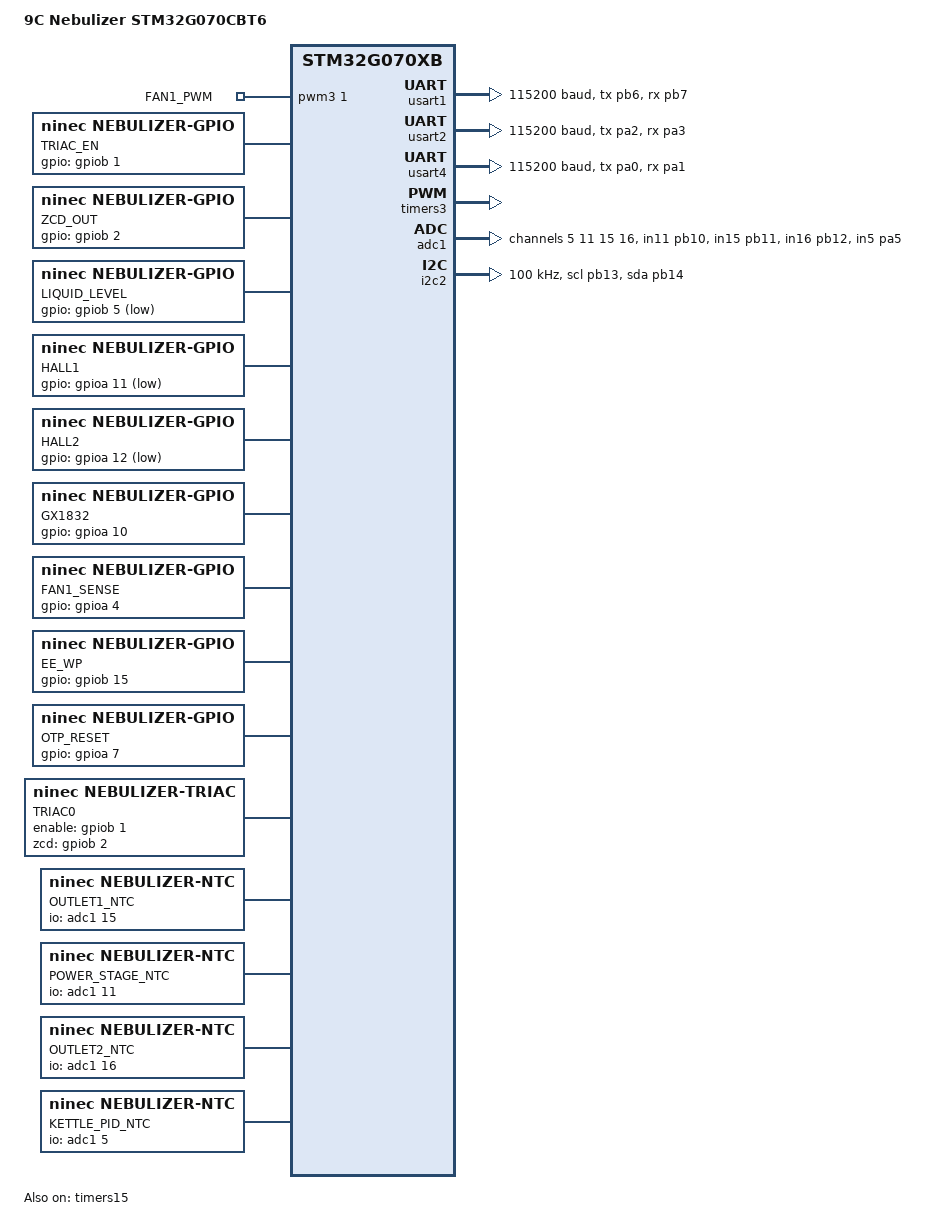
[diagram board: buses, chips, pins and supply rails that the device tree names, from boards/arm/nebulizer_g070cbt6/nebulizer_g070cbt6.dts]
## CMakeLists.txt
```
cmake_minimum_required(VERSION 3.22)
project(Nebulizer LANGUAGES C ASM)
option(NEBULIZER_BOOT_LAYOUT "Build protected-layout Boot + single App artifacts" OFF)
set(CMAKE_C_STANDARD 11)
set(CMAKE_C_STANDARD_REQUIRED ON)
set(CMAKE_EXPORT_COMPILE_COMMANDS ON)

if(NOT CMAKE_C_COMPILER MATCHES "arm-none-eabi")
  message(FATAL_ERROR "Use cmake --preset debug or release (STM32 Arm GCC toolchain)")
endif()
set(FREERTOS ${CMAKE_CURRENT_SOURCE_DIR}/third_party/FreeRTOS)
set(HAL ${CMAKE_CURRENT_SOURCE_DIR}/third_party/STM32G0_HAL)
set(DEVICE ${CMAKE_CURRENT_SOURCE_DIR}/third_party/STM32G0)
if(NOT EXISTS "${FREERTOS}/tasks.c")
  message(FATAL_ERROR "Missing dependencies: run python tools/vendor_dependencies.py")
endif()
add_library(mcu_options INTERFACE)
target_compile_options(mcu_options INTERFACE -mcpu=cortex-m0plus -mthumb -mfloat-abi=soft
  -ffunction-sections -fdata-sections -fno-common
  $<$<CONFIG:Debug>:-Og> $<$<CONFIG:Debug>:-g3>
  $<$<CONFIG:Release>:-Os> $<$<CONFIG:Release>:-g3>)
target_compile_definitions(mcu_options INTERFACE STM32G070xx USE_HAL_DRIVER)
target_include_directories(mcu_options INTERFACE ${CMAKE_CURRENT_SOURCE_DIR}/include)
target_include_directories(mcu_options SYSTEM INTERFACE
  ${FREERTOS}/include ${FREERTOS}/portable/GCC/ARM_CM0
  ${HAL}/Inc ${DEVICE}/Include
  ${CMAKE_CURRENT_SOURCE_DIR}/third_party/CMSIS/CMSIS/Core/Include)
add_library(freertos STATIC ${FREERTOS}/tasks.c ${FREERTOS}/queue.c ${FREERTOS}/list.c
  ${FREERTOS}/portable/GCC/ARM_CM0/port.c
  ${FREERTOS}/portable/GCC/ARM_CM0/portasm.c)
target_link_libraries(freertos PUBLIC mcu_options)
target_compile_definitions(freertos PRIVATE SysTick_Handler=xPortSysTickHandler)
set(HAL_MODULES hal hal_cortex hal_rcc hal_rcc_ex hal_pwr hal_pwr_ex hal_flash
  hal_flash_ex hal_gpio hal_dma hal_dma_ex hal_adc hal_adc_ex hal_i2c hal_i2c_ex
  hal_tim hal_tim_ex hal_uart hal_uart_ex)
foreach(module IN LISTS HAL_MODULES)
  list(APPEND HAL_SOURCES ${HAL}/Src/stm32g0xx_${module}.c)
endforeach()
add_library(stm32_hal STATIC ${HAL_SOURCES} ${DEVICE}/Source/Templates/system_stm32g0xx.c)
target_link_libraries(stm32_hal PUBLIC mcu_options)
add_executable(nebulizer
  src/main.c
  src/app/app_context.c
  src/app/app_events.c
  src/app/app_init.c
  src/app/app_tasks.c
  src/platform/board_devices.c
  src/platform/board_check.c
  src/state_machine/treatment_sm.c
  src/safety/fault_manager.c
  src/safety/safety_service.c
  src/telemetry/telemetry_service.c
  drivers_app/gpio/input_gpio.c
  drivers_app/gpio/output_gpio.c
  drivers_app/adc/adc_manager.c
  drivers_app/adc/ntc_table.c
  drivers_app/adc/ntc_convert.c
  drivers_app/uart/uart_port.c
  drivers_app/uart/uart_rx_ring.c
  drivers_app/pwm/pwm_output.c
  services/communication/host_comm_service.c
  services/communication/host_comm_rx.c
  services/communication/host_comm_tx.c
  services/debug/debug_service.c
  services/mist/mist_service.c
  services/mist/mist_board_client.c
  services/sensors/sensor_service.c
  services/sensors/sensor_snapshot.c
  services/sensors/gx1832_service.c
  services/heat/heat_control.c
  services/heat/triac_control.c
  services/fan/fan_control.c
  services/storage/settings_defaults.c
  services/storage/settings_store.c
  protocols/common/crc16_modbus.c
  protocols/common/frame_codec.c
  protocols/common/ring_frame_parser.c
  protocols/host/host_protocol.c
  protocols/host/host_commands.c
  protocols/mist/mist_protocol.c
  protocols/mist/mist_commands.c
  src/platform/hardware.c
  src/platform/runtime.c
  src/platform/log.c
  ${DEVICE}/Source/Templates/gcc/startup_stm32g070xx.s
)
set_target_properties(nebulizer PROPERTIES SUFFIX ".elf")
target_include_directories(nebulizer PRIVATE include . src drivers_app services protocols)
target_compile_options(nebulizer PRIVATE -Wall -Wextra -Werror -Wno-unused-parameter -fstack-usage)
target_link_libraries(nebulizer PRIVATE freertos stm32_hal m)
target_link_options(nebulizer PRIVATE -mcpu=cortex-m0plus -mthumb -mfloat-abi=soft
  -T${CMAKE_CURRENT_SOURCE_DIR}/cmake/stm32g070cb.ld
  -nostartfiles --specs=nano.specs --specs=nosys.specs
  -Wl,--gc-sections -Wl,--print-memory-usage -Wl,-Map=${CMAKE_CURRENT_BINARY_DIR}/nebulizer.map)
set_property(TARGET nebulizer APPEND PROPERTY LINK_DEPENDS ${CMAKE_CURRENT_SOURCE_DIR}/cmake/stm32g070cb.ld)
if(NEBULIZER_BOOT_LAYOUT)
  target_compile_definitions(nebulizer PRIVATE NEBULIZER_BOOT_LAYOUT=1)
  target_sources(nebulizer PRIVATE src/platform/boot_request.c)
  # Replace the standalone linker script rather than passing two -T options.
  get_target_property(APP_LINK_OPTIONS nebulizer LINK_OPTIONS)
  list(REMOVE_ITEM APP_LINK_OPTIONS "-T${CMAKE_CURRENT_SOURCE_DIR}/cmake/stm32g070cb.ld")
  set_property(TARGET nebulizer PROPERTY LINK_OPTIONS "${APP_LINK_OPTIONS}")
  target_link_options(nebulizer PRIVATE -T${CMAKE_CURRENT_SOURCE_DIR}/cmake/nebulizer_app.ld)
  set_property(TARGET nebulizer PROPERTY LINK_DEPENDS ${CMAKE_CURRENT_SOURCE_DIR}/cmake/nebulizer_app.ld)

  add_executable(nebulizer_boot boot/main.c boot/update.c
    protocols/common/crc16_modbus.c protocols/common/frame_codec.c
    protocols/common/ring_frame_parser.c ${DEVICE}/Source/Templates/gcc/startup_stm32g070xx.s)
  set_target_properties(nebulizer_boot PROPERTIES SUFFIX ".elf")
  target_include_directories(nebulizer_boot PRIVATE .)
  target_link_libraries(nebulizer_boot PRIVATE stm32_hal)
  target_compile_options(nebulizer_boot PRIVATE -Os -Wall -Wextra -Werror)
  target_link_options(nebulizer_boot PRIVATE -mcpu=cortex-m0plus -mthumb -mfloat-abi=soft
    -T${CMAKE_CURRENT_SOURCE_DIR}/cmake/nebulizer_boot.ld -nostartfiles
    --specs=nano.specs --specs=nosys.specs -Wl,--gc-sections -Wl,--print-memory-usage
    -Wl,-Map=${CMAKE_CURRENT_BINARY_DIR}/nebulizer_boot.map)
  set_property(TARGET nebulizer_boot PROPERTY LINK_DEPENDS ${CMAKE_CURRENT_SOURCE_DIR}/cmake/nebulizer_boot.ld)
  add_custom_command(TARGET nebulizer_boot POST_BUILD
    COMMAND ${CMAKE_OBJCOPY} -O ihex $<TARGET_FILE:nebulizer_boot> ${CMAKE_CURRENT_BINARY_DIR}/nebulizer_boot.hex
    COMMAND ${CMAKE_OBJCOPY} -O binary $<TARGET_FILE:nebulizer_boot> ${CMAKE_CURRENT_BINARY_DIR}/nebulizer_boot.bin
    COMMAND ${CMAKE_SIZE} $<TARGET_FILE:nebulizer_boot>)
  find_package(Python3 REQUIRED COMPONENTS Interpreter)
  add_custom_target(firmware_package ALL
    COMMAND ${Python3_EXECUTABLE} ${CMAKE_CURRENT_SOURCE_DIR}/tools/fw_update/package.py
      --app ${CMAKE_CURRENT_BINARY_DIR}/nebulizer.bin
      --boot ${CMAKE_CURRENT_BINARY_DIR}/nebulizer_boot.bin
      --output ${CMAKE_CURRENT_BINARY_DIR}
    DEPENDS nebulizer nebulizer_boot
    BYPRODUCTS ${CMAKE_CURRENT_BINARY_DIR}/nebulizer.nfu
      ${CMAKE_CURRENT_BINARY_DIR}/nebulizer_factory.bin ${CMAKE_CURRENT_BINARY_DIR}/nebulizer_factory.hex)
endif()
add_custom_command(TARGET nebulizer POST_BUILD
  COMMAND ${CMAKE_OBJCOPY} -O ihex $<TARGET_FILE:nebulizer> ${CMAKE_CURRENT_BINARY_DIR}/nebulizer.hex
  COMMAND ${CMAKE_OBJCOPY} -O binary $<TARGET_FILE:nebulizer> ${CMAKE_CURRENT_BINARY_DIR}/nebulizer.bin
  COMMAND ${CMAKE_SIZE} $<TARGET_FILE:nebulizer>)
```

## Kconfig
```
source "Kconfig.zephyr"

menu "9C Nebulizer"

config NEBULIZER_LOG_LEVEL
	int "Default application log level"
	range 0 4
	default 3

config NEBULIZER_FAN_PWM_INVERTED
	bool "Fan PWM input is inverted"
	default n

endmenu
```

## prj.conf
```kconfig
CONFIG_GPIO=y
CONFIG_SERIAL=y
CONFIG_UART_INTERRUPT_DRIVEN=y
CONFIG_CONSOLE=y
CONFIG_UART_CONSOLE=y
CONFIG_LOG=y
CONFIG_LOG_MODE_DEFERRED=y
CONFIG_LOG_DEFAULT_LEVEL=3
CONFIG_CBPRINTF_FP_SUPPORT=y
CONFIG_ADC=y
CONFIG_PWM=y
CONFIG_COUNTER=y
CONFIG_I2C=y
CONFIG_FLASH=y
CONFIG_FLASH_MAP=y
CONFIG_RING_BUFFER=y
CONFIG_POLL=y
CONFIG_ASSERT=y
CONFIG_THREAD_NAME=y
CONFIG_INIT_STACKS=y
CONFIG_STACK_SENTINEL=y
CONFIG_THREAD_STACK_INFO=y
CONFIG_THREAD_MONITOR=y
CONFIG_MAIN_STACK_SIZE=2048
CONFIG_SYSTEM_WORKQUEUE_STACK_SIZE=1536
CONFIG_HEAP_MEM_POOL_SIZE=0
CONFIG_NEWLIB_LIBC=n
CONFIG_MINIMAL_LIBC=y
CONFIG_REBOOT=y
CONFIG_NEBULIZER_FAN_PWM_INVERTED=y
```

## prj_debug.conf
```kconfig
CONFIG_DEBUG=y
CONFIG_ASSERT=y
CONFIG_LOG=y
CONFIG_LOG_DEFAULT_LEVEL=4
CONFIG_NO_OPTIMIZATIONS=y
CONFIG_INIT_STACKS=y
CONFIG_STACK_SENTINEL=y
CONFIG_THREAD_STACK_INFO=y
CONFIG_THREAD_MONITOR=y
```

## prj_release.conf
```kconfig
CONFIG_DEBUG=n
CONFIG_ASSERT=n
CONFIG_LOG=y
CONFIG_LOG_DEFAULT_LEVEL=2
CONFIG_SIZE_OPTIMIZATIONS=y
CONFIG_INIT_STACKS=n
CONFIG_STACK_SENTINEL=n
CONFIG_THREAD_STACK_INFO=n
CONFIG_THREAD_MONITOR=n
```

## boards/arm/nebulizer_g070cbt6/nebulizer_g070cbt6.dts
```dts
/dts-v1/;
#include <st/g0/stm32g070Xb.dtsi>
#include "pinctrl.dtsi"
#include <zephyr/dt-bindings/adc/adc.h>
#include <zephyr/dt-bindings/gpio/gpio.h>
#include <zephyr/dt-bindings/pwm/pwm.h>
#include <zephyr/dt-bindings/i2c/i2c.h>

/ {
	model = "9C Nebulizer STM32G070CBT6";
	compatible = "ninec,nebulizer-g070cbt6";

	chosen {
		zephyr,console = &usart2;
		zephyr,shell-uart = &usart2;
		zephyr,sram = &sram0;
		zephyr,flash = &flash0;
	};

		aliases {
			host-uart = &usart1;
			debug-uart = &usart2;
			mist-uart = &usart4;
			otp-reset = &otp_reset;
			triac-en = &triac_en;
			zcd-in = &zcd_in;
			fan1-pwm = &fan1_pwm;
		fan1-sense = &fan1_sense;
		liquid-level = &liquid_level;
		hall1 = &hall1;
		hall2 = &hall2;
		gx1832 = &gx1832;
		ntc1 = &ntc1;
		ntc2 = &ntc2;
		ntc3 = &ntc3;
		ntc4 = &ntc4;
		ee-wp = &ee_wp;
	};

	pwmleds {
		compatible = "pwm-leds";

		fan1_pwm: fan1_pwm {
			pwms = <&pwm3 1 PWM_USEC(100) PWM_POLARITY_NORMAL>;
			label = "FAN1_PWM";
		};
	};

	nebulizer_ios {
		compatible = "simple-bus";
		#address-cells = <1>;
		#size-cells = <0>;

		triac_en: gpio@0 {
			compatible = "ninec,nebulizer-gpio";
			reg = <0>;
			label = "TRIAC_EN";
			gpios = <&gpiob 1 GPIO_ACTIVE_HIGH>;
		};

		zcd_in: gpio@1 {
			compatible = "ninec,nebulizer-gpio";
			reg = <1>;
			label = "ZCD_OUT";
			gpios = <&gpiob 2 GPIO_ACTIVE_HIGH>;
		};

		liquid_level: gpio@2 {
			compatible = "ninec,nebulizer-gpio";
			reg = <2>;
			label = "LIQUID_LEVEL";
			gpios = <&gpiob 5 (GPIO_ACTIVE_LOW | GPIO_PULL_UP)>;
			debounce-ms = <20>;
		};

		hall1: gpio@3 {
			compatible = "ninec,nebulizer-gpio";
			reg = <3>;
			label = "HALL1";
			gpios = <&gpioa 11 (GPIO_ACTIVE_LOW | GPIO_PULL_UP)>;
			debounce-ms = <20>;
		};

		hall2: gpio@4 {
			compatible = "ninec,nebulizer-gpio";
			reg = <4>;
			label = "HALL2";
			gpios = <&gpioa 12 (GPIO_ACTIVE_LOW | GPIO_PULL_UP)>;
			debounce-ms = <20>;
		};

		gx1832: gpio@5 {
			compatible = "ninec,nebulizer-gpio";
			reg = <5>;
			label = "GX1832";
			gpios = <&gpioa 10 (GPIO_ACTIVE_HIGH | GPIO_PULL_DOWN)>;
		};

		fan1_sense: gpio@6 {
			compatible = "ninec,nebulizer-gpio";
			reg = <6>;
			label = "FAN1_SENSE";
			gpios = <&gpioa 4 (GPIO_ACTIVE_HIGH | GPIO_PULL_UP)>;
		};

			ee_wp: gpio@7 {
				compatible = "ninec,nebulizer-gpio";
				reg = <7>;
				label = "EE_WP";
				gpios = <&gpiob 15 GPIO_ACTIVE_HIGH>;
			};

			otp_reset: gpio@8 {
				compatible = "ninec,nebulizer-gpio";
				reg = <8>;
				label = "OTP_RESET";
				gpios = <&gpioa 7 GPIO_ACTIVE_HIGH>;
			};
		};

	triac0: triac {
		compatible = "ninec,nebulizer-triac";
		label = "TRIAC0";
		enable-gpios = <&gpiob 1 GPIO_ACTIVE_HIGH>;
		zcd-gpios = <&gpiob 2 GPIO_ACTIVE_HIGH>;
		counter = <&triac_counter>;
		pulse-width-us = <3000>;
		default-delay-us = <4000>;
	};

	ntc_bank {
		compatible = "simple-bus";
		#address-cells = <1>;
		#size-cells = <0>;

		ntc1: ntc@0 {
			compatible = "ninec,nebulizer-ntc";
			reg = <0>;
			label = "OUTLET1_NTC";
			io-channels = <&adc1 15>;
			pullup-ohms = <10000>;
			nominal-ohms = <10000>;
			beta = <3950>;
			nominal-temp-c = <25>;
		};

		ntc2: ntc@1 {
			compatible = "ninec,nebulizer-ntc";
			reg = <1>;
			label = "POWER_STAGE_NTC";
			io-channels = <&adc1 11>;
			pullup-ohms = <10000>;
			nominal-ohms = <10000>;
			beta = <3950>;
			nominal-temp-c = <25>;
		};

		ntc3: ntc@2 {
			compatible = "ninec,nebulizer-ntc";
			reg = <2>;
			label = "OUTLET2_NTC";
			io-channels = <&adc1 16>;
			pullup-ohms = <10000>;
			nominal-ohms = <10000>;
			beta = <3950>;
			nominal-temp-c = <25>;
		};

		ntc4: ntc@3 {
			compatible = "ninec,nebulizer-ntc";
			reg = <3>;
			label = "KETTLE_PID_NTC";
			io-channels = <&adc1 5>;
			pullup-ohms = <10000>;
			nominal-ohms = <10000>;
			beta = <3950>;
			nominal-temp-c = <25>;
		};
	};

	reserved_leds {
		compatible = "gpio-leds";

		reserved_led0: led0 {
			gpios = <&gpioc 14 GPIO_ACTIVE_HIGH>;
			label = "DBG_LED0";
			status = "disabled";
		};

		reserved_led1: led1 {
			gpios = <&gpioc 15 GPIO_ACTIVE_HIGH>;
			label = "DBG_LED1";
			status = "disabled";
		};
	};
};

&clk_lsi {
	status = "okay";
};

&clk_hsi {
	status = "okay";
};

&pll {
	div-m = <1>;
	mul-n = <8>;
	div-p = <2>;
	div-r = <2>;
	clocks = <&clk_hsi>;
	status = "okay";
};

&rcc {
	clocks = <&pll>;
	clock-frequency = <DT_FREQ_M(64)>;
	ahb-prescaler = <1>;
	apb1-prescaler = <1>;
};

&usart1 {
	pinctrl-0 = <&usart1_tx_pb6 &usart1_rx_pb7>;
	pinctrl-names = "default";
	current-speed = <115200>;
	status = "okay";
};

&usart2 {
	pinctrl-0 = <&usart2_tx_pa2 &usart2_rx_pa3>;
	pinctrl-names = "default";
	current-speed = <115200>;
	status = "okay";
};

&usart4 {
	pinctrl-0 = <&usart4_tx_pa0 &usart4_rx_pa1>;
	pinctrl-names = "default";
	current-speed = <115200>;
	status = "okay";
};

&timers3 {
	st,prescaler = <0>;
	status = "okay";

	pwm3: pwm {
		status = "okay";
		pinctrl-0 = <&tim3_ch1_pa6>;
		pinctrl-names = "default";
	};
};

&timers15 {
	st,prescaler = <63>;
	status = "okay";

	triac_counter: counter {
		status = "okay";
	};
};

&adc1 {
	#address-cells = <1>;
	#size-cells = <0>;
	pinctrl-0 = <&adc1_in11_pb10 &adc1_in15_pb11
		     &adc1_in16_pb12 &adc1_in5_pa5>;
	pinctrl-names = "default";
	st,adc-clock-source = "SYNC";
	st,adc-prescaler = <4>;
	status = "okay";
	vref-mv = <3300>;

	channel@5 {
		reg = <5>;
		zephyr,gain = "ADC_GAIN_1";
		zephyr,reference = "ADC_REF_INTERNAL";
		zephyr,acquisition-time = <ADC_ACQ_TIME_DEFAULT>;
		zephyr,resolution = <12>;
	};

	channel@b {
		reg = <11>;
		zephyr,gain = "ADC_GAIN_1";
		zephyr,reference = "ADC_REF_INTERNAL";
		zephyr,acquisition-time = <ADC_ACQ_TIME_DEFAULT>;
		zephyr,resolution = <12>;
	};

	channel@f {
		reg = <15>;
		zephyr,gain = "ADC_GAIN_1";
		zephyr,reference = "ADC_REF_INTERNAL";
		zephyr,acquisition-time = <ADC_ACQ_TIME_DEFAULT>;
		zephyr,resolution = <12>;
	};

	channel@10 {
		reg = <16>;
		zephyr,gain = "ADC_GAIN_1";
		zephyr,reference = "ADC_REF_INTERNAL";
		zephyr,acquisition-time = <ADC_ACQ_TIME_DEFAULT>;
		zephyr,resolution = <12>;
	};
};

&i2c2 {
	pinctrl-0 = <&i2c2_scl_pb13 &i2c2_sda_pb14>;
	pinctrl-names = "default";
	clock-frequency = <I2C_BITRATE_STANDARD>;
	status = "okay";
};

&flash0 {
	partitions {
		compatible = "fixed-partitions";
		#address-cells = <1>;
		#size-cells = <1>;

		storage_partition: partition@1f000 {
			label = "storage";
			reg = <0x0001f000 DT_SIZE_K(4)>;
		};
	};
};
```

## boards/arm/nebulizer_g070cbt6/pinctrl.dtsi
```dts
#include <st/g0/stm32g070cbtx-pinctrl.dtsi>

&pinctrl {
	/omit-if-no-ref/ led_pc14_gpio: led_pc14_gpio {
		pinmux = <STM32_PINMUX('C', 14, GPIO)>;
		output-low;
	};

	/omit-if-no-ref/ led_pc15_gpio: led_pc15_gpio {
		pinmux = <STM32_PINMUX('C', 15, GPIO)>;
		output-low;
	};
};
```

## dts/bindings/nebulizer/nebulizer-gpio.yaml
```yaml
description: Generic board GPIO resource for the nebulizer application

compatible: "ninec,nebulizer-gpio"

include: base.yaml

properties:
  gpios:
    type: phandle-array
    required: true
  label:
    type: string
    required: false
  debounce-ms:
    type: int
    required: false
```

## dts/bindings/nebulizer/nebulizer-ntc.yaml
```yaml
description: NTC input descriptor for the nebulizer board

compatible: "ninec,nebulizer-ntc"

include: base.yaml

properties:
  io-channels:
    type: phandle-array
    required: true
  label:
    type: string
    required: false
  pullup-ohms:
    type: int
    required: true
  nominal-ohms:
    type: int
    required: true
  beta:
    type: int
    required: true
  nominal-temp-c:
    type: int
    required: true
```

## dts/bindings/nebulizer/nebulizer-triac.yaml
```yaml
description: TRIAC timing resources for the nebulizer heater stage

compatible: "ninec,nebulizer-triac"

include: base.yaml

properties:
  enable-gpios:
    type: phandle-array
    required: true
  zcd-gpios:
    type: phandle-array
    required: true
  counter:
    type: phandle
    required: true
  label:
    type: string
    required: false
  pulse-width-us:
    type: int
    required: true
  default-delay-us:
    type: int
    required: true
```

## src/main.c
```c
#include <platform/runtime.h>
#include <platform/hardware.h>
#include <platform/log.h>
#include <src/app/app_init.h>
#include <src/app/app_tasks.h>
#include <nebulizer/boot_layout.h>
#include <src/app/app_events.h>
static StaticTask_t boot_control;
static StackType_t boot_stack[512];
static void boot_task(void *argument)
{
    (void)argument;
    platform_log_start();
    LOG_INF("9C Nebulizer FreeRTOS boot");
    app_events_init();
    int ret = app_init();
    if (ret != 0) runtime_panic("app_init", ret);
    configASSERT(app_tasks_start() == 0);
    vTaskDelete(NULL);
}
int main(void)
{
#if defined(NEBULIZER_BOOT_LAYOUT) && NEBULIZER_BOOT_LAYOUT
    SCB->VTOR = NB_APP_BASE;
    __DSB(); __ISB();
#endif
    if (board_hardware_init() != 0) runtime_panic("hardware_init", 0);
    platform_log_init();
    configASSERT(xTaskCreateStatic(boot_task, "Boot", ARRAY_SIZE(boot_stack), NULL, 5,
        boot_stack, &boot_control));
    vTaskStartScheduler();
    runtime_panic("scheduler", 0);
}
```

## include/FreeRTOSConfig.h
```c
#ifndef FREERTOS_CONFIG_H
#define FREERTOS_CONFIG_H
#include <stdint.h>
extern uint32_t SystemCoreClock;
void runtime_panic(const char *file, int line) __attribute__((noreturn));
#define configCPU_CLOCK_HZ SystemCoreClock
#define configTICK_RATE_HZ 1000U
#define configUSE_PREEMPTION 1
#define configUSE_TIME_SLICING 1
#define configMAX_PRIORITIES 6
#define configMINIMAL_STACK_SIZE 128U
#define configMAX_TASK_NAME_LEN 16
#define configTICK_TYPE_WIDTH_IN_BITS TICK_TYPE_WIDTH_32_BITS
#define configIDLE_SHOULD_YIELD 1
#define configSUPPORT_STATIC_ALLOCATION 1
#define configSUPPORT_DYNAMIC_ALLOCATION 0
#define configUSE_MUTEXES 1
#define configUSE_RECURSIVE_MUTEXES 0
#define configUSE_COUNTING_SEMAPHORES 0
#define configUSE_TASK_NOTIFICATIONS 1
#define configUSE_TIMERS 0
#define configCHECK_FOR_STACK_OVERFLOW 2
#define configUSE_MALLOC_FAILED_HOOK 0
#define configUSE_IDLE_HOOK 0
#define configUSE_TICK_HOOK 0
#define configUSE_TRACE_FACILITY 1
#define configENABLE_MPU 0
#define configENABLE_FPU 0
#define configENABLE_TRUSTZONE 0
#define configKERNEL_INTERRUPT_PRIORITY 255
#define configASSERT(x) do { if (!(x)) runtime_panic(__FILE__, __LINE__); } while (0)
#define INCLUDE_vTaskDelay 1
#define INCLUDE_vTaskDelayUntil 1
#define INCLUDE_vTaskDelete 1
#define INCLUDE_vTaskSuspend 1
#define INCLUDE_xTaskGetSchedulerState 1
#define INCLUDE_uxTaskGetStackHighWaterMark 1
#define vPortSVCHandler SVC_Handler
#define xPortPendSVHandler PendSV_Handler
#endif
```

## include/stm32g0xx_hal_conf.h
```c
/**
  ******************************************************************************
  * @file    stm32g0xx_hal_conf.h
  * @author  MCD Application Team
  * @brief   HAL configuration template file.
  *          This file should be copied to the application folder and renamed
  *          to stm32g0xx_hal_conf.h.
  ******************************************************************************
  * @attention
  *
  * Copyright (c) 2018 STMicroelectronics. 
  * All rights reserved.
  *
  * This software is licensed under terms that can be found in the LICENSE file
  * in the root directory of this software component.
  * If no LICENSE file comes with this software, it is provided AS-IS.
  *
  ******************************************************************************
  */

/* Define to prevent recursive inclusion -------------------------------------*/
#ifndef STM32G0xx_HAL_CONF_H
#define STM32G0xx_HAL_CONF_H

#ifdef __cplusplus
extern "C" {
#endif

/* Exported types ------------------------------------------------------------*/
/* Exported constants --------------------------------------------------------*/

/* ########################## Module Selection ############################## */
/**
  * @brief This is the list of modules to be used in the HAL driver
  */
#define HAL_MODULE_ENABLED
#define HAL_ADC_MODULE_ENABLED
/* #define HAL_CEC_MODULE_ENABLED */
/* #define HAL_COMP_MODULE_ENABLED */
#define HAL_CORTEX_MODULE_ENABLED
/* #define HAL_CRC_MODULE_ENABLED */
/* #define HAL_CRYP_MODULE_ENABLED */
/* #define HAL_DAC_MODULE_ENABLED */
#define HAL_DMA_MODULE_ENABLED
#define HAL_EXTI_MODULE_ENABLED
#define HAL_FLASH_MODULE_ENABLED
/* #define HAL_FDCAN_MODULE_ENABLED */
#define HAL_GPIO_MODULE_ENABLED
#define HAL_I2C_MODULE_ENABLED
/* #define HAL_I2S_MODULE_ENABLED */
/* #define HAL_IRDA_MODULE_ENABLED */
/* #define HAL_IWDG_MODULE_ENABLED */
/* #define HAL_LPTIM_MODULE_ENABLED */
/* #define HAL_HCD_MODULE_ENABLED */
/* #define HAL_PCD_MODULE_ENABLED */
#define HAL_PWR_MODULE_ENABLED
#define HAL_RCC_MODULE_ENABLED
/* #define HAL_RNG_MODULE_ENABLED */
/* #define HAL_RTC_MODULE_ENABLED */
/* #define HAL_SMARTCARD_MODULE_ENABLED */
/* #define HAL_SMBUS_MODULE_ENABLED */
/* #define HAL_SPI_MODULE_ENABLED */
#define HAL_TIM_MODULE_ENABLED
#define HAL_UART_MODULE_ENABLED
/* #define HAL_USART_MODULE_ENABLED */
/* #define HAL_WWDG_MODULE_ENABLED */

/* ########################## Register Callbacks selection ############################## */
/**
  * @brief This is the list of modules where register callback can be used
  */
#define USE_HAL_ADC_REGISTER_CALLBACKS        0u
#define USE_HAL_CEC_REGISTER_CALLBACKS        0u
#define USE_HAL_COMP_REGISTER_CALLBACKS       0u
#define USE_HAL_CRYP_REGISTER_CALLBACKS       0u
#define USE_HAL_DAC_REGISTER_CALLBACKS        0u
#define USE_HAL_FDCAN_REGISTER_CALLBACKS      0u
#define USE_HAL_I2C_REGISTER_CALLBACKS        0u
#define USE_HAL_I2S_REGISTER_CALLBACKS        0u
#define USE_HAL_IRDA_REGISTER_CALLBACKS       0u
#define USE_HAL_LPTIM_REGISTER_CALLBACKS      0u
#define USE_HAL_HCD_REGISTER_CALLBACKS        0u
#define USE_HAL_PCD_REGISTER_CALLBACKS        0u
#define USE_HAL_RNG_REGISTER_CALLBACKS        0u
#define USE_HAL_RTC_REGISTER_CALLBACKS        0u
#define USE_HAL_SMARTCARD_REGISTER_CALLBACKS  0u
#define USE_HAL_SMBUS_REGISTER_CALLBACKS      0u
#define USE_HAL_SPI_REGISTER_CALLBACKS        0u
#define USE_HAL_TIM_REGISTER_CALLBACKS        0u
#define USE_HAL_UART_REGISTER_CALLBACKS       0u
#define USE_HAL_USART_REGISTER_CALLBACKS      0u
#define USE_HAL_WWDG_REGISTER_CALLBACKS       0u

/* ########################## Oscillator Values adaptation ####################*/
/**
  * @brief Adjust the value of External High Speed oscillator (HSE) used in your application.
  *        This value is used by the RCC HAL module to compute the system frequency
  *        (when HSE is used as system clock source, directly or through the PLL).
  */
#if !defined  (HSE_VALUE)
#define HSE_VALUE    (8000000UL)            /*!< Value of the External oscillator in Hz */
#endif /* HSE_VALUE */

#if !defined  (HSE_STARTUP_TIMEOUT)
#define HSE_STARTUP_TIMEOUT    (100UL)      /*!< Time out for HSE start up, in ms */
#endif /* HSE_STARTUP_TIMEOUT */

/**
  * @brief Internal High Speed oscillator (HSI) value.
  *        This value is used by the RCC HAL module to compute the system frequency
  *        (when HSI is used as system clock source, directly or through the PLL).
  */
#if !defined  (HSI_VALUE)
#define HSI_VALUE    (16000000UL)           /*!< Value of the Internal oscillator in Hz*/
#endif /* HSI_VALUE */

#if defined(STM32G0C1xx) || defined(STM32G0B1xx) || defined(STM32G0B0xx)
/**
  * @brief Internal High Speed oscillator (HSI48) value for USB FS, SDMMC and RNG.
  *        This internal oscillator is mainly dedicated to provide a high precision clock to
  *        the USB peripheral by means of a special Clock Recovery System (CRS) circuitry.
  *        When the CRS is not used, the HSI48 RC oscillator runs on it default frequency
  *        which is subject to manufacturing process variations.
  */
#if !defined  (HSI48_VALUE) 
  #define HSI48_VALUE   48000000U             /*!< Value of the Internal High Speed oscillator for USB FS/SDMMC/RNG in Hz.
                                               The real value my vary depending on manufacturing process variations.*/
#endif /* HSI48_VALUE */
#endif /* STM32G0C1xx || STM32G0B1xx || STM32G0B0xx */

/**
  * @brief Internal Low Speed oscillator (LSI) value.
  */
#if !defined  (LSI_VALUE)
#define LSI_VALUE  (32000UL)                /*!< LSI Typical Value in Hz*/
#endif /* LSI_VALUE */                      /*!< Value of the Internal Low Speed oscillator in Hz
The real value may vary depending on the variations
in voltage and temperature.*/
/**
  * @brief External Low Speed oscillator (LSE) value.
  *        This value is used by the UART, RTC HAL module to compute the system frequency
  */
#if !defined  (LSE_VALUE)
#define LSE_VALUE    (32768UL)              /*!< Value of the External oscillator in Hz*/
#endif /* LSE_VALUE */

#if !defined (LSE_STARTUP_TIMEOUT)
#define LSE_STARTUP_TIMEOUT    (5000UL)     /*!< Time out for LSE start up, in ms */
#endif /* LSE_STARTUP_TIMEOUT */

/**
  * @brief External clock source for I2S1 peripheral
  *        This value is used by the RCC HAL module to compute the I2S1 clock source
  *        frequency.
  */
#if !defined  (EXTERNAL_I2S1_CLOCK_VALUE)
#define EXTERNAL_I2S1_CLOCK_VALUE    (48000UL) /*!< Value of the I2S1 External clock source in Hz*/
#endif /* EXTERNAL_I2S1_CLOCK_VALUE */

#if defined(STM32G0C1xx) || defined(STM32G0B1xx) || defined(STM32G0B0xx)
/**
  * @brief External clock source for I2S2 peripheral
  *        This value is used by the RCC HAL module to compute the I2S2 clock source 
  *        frequency.
  */
#if !defined  (EXTERNAL_I2S2_CLOCK_VALUE)
  #define EXTERNAL_I2S2_CLOCK_VALUE    48000U /*!< Value of the I2S2 External clock source in Hz*/
#endif /* EXTERNAL_I2S2_CLOCK_VALUE */
#endif /* STM32G0C1xx || STM32G0B1xx || STM32G0B0xx */

/* Tip: To avoid modifying this file each time you need to use different HSE,
   ===  you can define the HSE value in your toolchain compiler preprocessor. */

/* ########################### System Configuration ######################### */
/**
  * @brief This is the HAL system configuration section
  */
#define  VDD_VALUE                    (3300UL) /*!< Value of VDD in mv */
#define  TICK_INT_PRIORITY            ((1UL<<__NVIC_PRIO_BITS) - 1UL) /*!< tick interrupt priority */
#define  USE_RTOS                     0U
#define  PREFETCH_ENABLE              1U
#define  INSTRUCTION_CACHE_ENABLE     1U

/* ################## SPI peripheral configuration ########################## */

/* CRC FEATURE: Use to activate CRC feature inside HAL SPI Driver
* Activated: CRC code is present inside driver
* Deactivated: CRC code cleaned from driver
*/

#define USE_SPI_CRC                     1U

/* ################## CRYP peripheral configuration ########################## */

#define USE_HAL_CRYP_SUSPEND_RESUME     1U


/* ########################## Assert Selection ############################## */
/**
  * @brief Uncomment the line below to expanse the "assert_param" macro in the
  *        HAL drivers code
  */
/* #define USE_FULL_ASSERT    1U */

/* Includes ------------------------------------------------------------------*/
/**
  * @brief Include modules header file
  */

#ifdef HAL_RCC_MODULE_ENABLED
#include "stm32g0xx_hal_rcc.h"
#endif /* HAL_RCC_MODULE_ENABLED */

#ifdef HAL_GPIO_MODULE_ENABLED
#include "stm32g0xx_hal_gpio.h"
#endif /* HAL_GPIO_MODULE_ENABLED */

#ifdef HAL_DMA_MODULE_ENABLED
#include "stm32g0xx_hal_dma.h"
#endif /* HAL_DMA_MODULE_ENABLED */

#ifdef HAL_CORTEX_MODULE_ENABLED
#include "stm32g0xx_hal_cortex.h"
#endif /* HAL_CORTEX_MODULE_ENABLED */

#ifdef HAL_ADC_MODULE_ENABLED
#include "stm32g0xx_hal_adc.h"
#include "stm32g0xx_hal_adc_ex.h"
#endif /* HAL_ADC_MODULE_ENABLED */

#ifdef HAL_CEC_MODULE_ENABLED
#include "stm32g0xx_hal_cec.h"
#endif /* HAL_CEC_MODULE_ENABLED */

#ifdef HAL_COMP_MODULE_ENABLED
#include "stm32g0xx_hal_comp.h"
#endif /* HAL_COMP_MODULE_ENABLED */

#ifdef HAL_CRC_MODULE_ENABLED
#include "stm32g0xx_hal_crc.h"
#endif /* HAL_CRC_MODULE_ENABLED */

#ifdef HAL_CRYP_MODULE_ENABLED
#include "stm32g0xx_hal_cryp.h"
#endif /* HAL_CRYP_MODULE_ENABLED */

#ifdef HAL_DAC_MODULE_ENABLED
#include "stm32g0xx_hal_dac.h"
#endif /* HAL_DAC_MODULE_ENABLED */

#ifdef HAL_EXTI_MODULE_ENABLED
#include "stm32g0xx_hal_exti.h"
#endif /* HAL_EXTI_MODULE_ENABLED */

#ifdef HAL_FDCAN_MODULE_ENABLED
#include "stm32g0xx_hal_fdcan.h"
#endif /* HAL_FDCAN_MODULE_ENABLED */

#ifdef HAL_FLASH_MODULE_ENABLED
#include "stm32g0xx_hal_flash.h"
#endif /* HAL_FLASH_MODULE_ENABLED */

#ifdef HAL_I2C_MODULE_ENABLED
#include "stm32g0xx_hal_i2c.h"
#endif /* HAL_I2C_MODULE_ENABLED */

#ifdef HAL_I2S_MODULE_ENABLED
#include "stm32g0xx_hal_i2s.h"
#endif /* HAL_I2S_MODULE_ENABLED */

#ifdef HAL_IRDA_MODULE_ENABLED
#include "stm32g0xx_hal_irda.h"
#endif /* HAL_IRDA_MODULE_ENABLED */

#ifdef HAL_IWDG_MODULE_ENABLED
#include "stm32g0xx_hal_iwdg.h"
#endif /* HAL_IWDG_MODULE_ENABLED */

#ifdef HAL_LPTIM_MODULE_ENABLED
#include "stm32g0xx_hal_lptim.h"
#endif /* HAL_LPTIM_MODULE_ENABLED */

#ifdef HAL_PCD_MODULE_ENABLED
#include "stm32g0xx_hal_pcd.h"
#endif /* HAL_PCD_MODULE_ENABLED */

#ifdef HAL_HCD_MODULE_ENABLED
#include "stm32g0xx_hal_hcd.h"
#endif /* HAL_HCD_MODULE_ENABLED */

#ifdef HAL_PWR_MODULE_ENABLED
#include "stm32g0xx_hal_pwr.h"
#endif /* HAL_PWR_MODULE_ENABLED */

#ifdef HAL_RNG_MODULE_ENABLED
#include "stm32g0xx_hal_rng.h"
#endif /* HAL_RNG_MODULE_ENABLED */

#ifdef HAL_RTC_MODULE_ENABLED
#include "stm32g0xx_hal_rtc.h"
#endif /* HAL_RTC_MODULE_ENABLED */

#ifdef HAL_SMARTCARD_MODULE_ENABLED
#include "stm32g0xx_hal_smartcard.h"
#endif /* HAL_SMARTCARD_MODULE_ENABLED */

#ifdef HAL_SMBUS_MODULE_ENABLED
#include "stm32g0xx_hal_smbus.h"
#endif /* HAL_SMBUS_MODULE_ENABLED */

#ifdef HAL_SPI_MODULE_ENABLED
#include "stm32g0xx_hal_spi.h"
#endif /* HAL_SPI_MODULE_ENABLED */

#ifdef HAL_TIM_MODULE_ENABLED
#include "stm32g0xx_hal_tim.h"
#endif /* HAL_TIM_MODULE_ENABLED */

#ifdef HAL_UART_MODULE_ENABLED
#include "stm32g0xx_hal_uart.h"
#endif /* HAL_UART_MODULE_ENABLED */

#ifdef HAL_USART_MODULE_ENABLED
#include "stm32g0xx_hal_usart.h"
#endif /* HAL_USART_MODULE_ENABLED */

#ifdef HAL_WWDG_MODULE_ENABLED
#include "stm32g0xx_hal_wwdg.h"
#endif /* HAL_WWDG_MODULE_ENABLED */

/* Exported macro ------------------------------------------------------------*/
#ifdef  USE_FULL_ASSERT
/**
  * @brief  The assert_param macro is used for functions parameters check.
  * @param  expr If expr is false, it calls assert_failed function
  *         which reports the name of the source file and the source
  *         line number of the call that failed.
  *         If expr is true, it returns no value.
  * @retval None
  */
#define assert_param(expr) ((expr) ? (void)0U : assert_failed((uint8_t *)__FILE__, __LINE__))
/* Exported functions ------------------------------------------------------- */
void assert_failed(uint8_t *file, uint32_t line);
#else
#define assert_param(expr) ((void)0U)
#endif /* USE_FULL_ASSERT */

#ifdef __cplusplus
}
#endif

#endif /* STM32G0xx_HAL_CONF_H */
```
